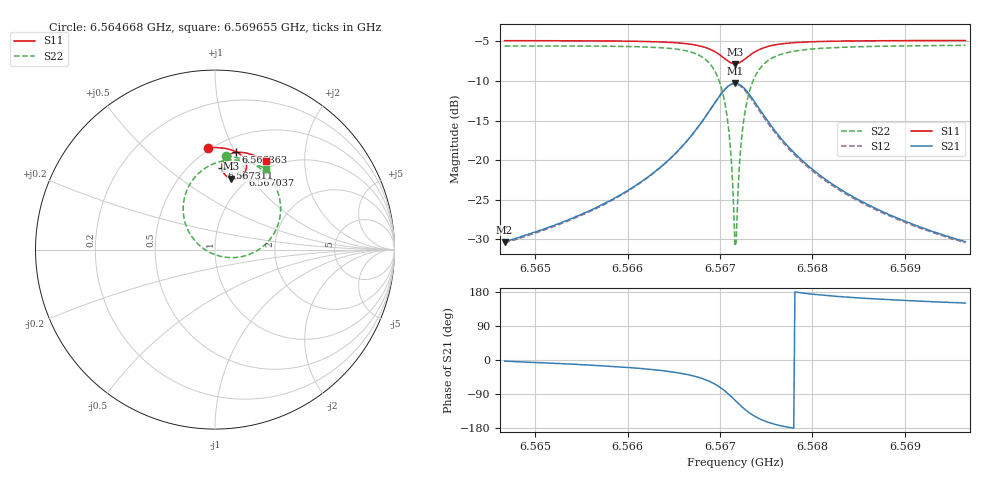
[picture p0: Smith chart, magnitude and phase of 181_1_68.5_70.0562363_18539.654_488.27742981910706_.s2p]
#  HZ  S  RI  R  50.00
! Rohde & Schwarz Vector Network Analyzer
! Rohde-Schwarz,ZNB20-2Port,1311601062101988,3.16
! Created: UTC 3/20/2024, 5:11:50 PM
! freq[Hz]  re:S11  im:S11  re:S21  im:S21  re:S12  im:S12  re:S22  im:S22
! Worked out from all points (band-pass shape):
!   401 points, 6.564668 GHz to 6.569655 GHz, reference 50 ohm
!   highest |S21| = -10.29 dB at 6.567161 GHz (marker M1); lowest = -30.3 dB at 6.564668 GHz (marker M2)
!   |S21| within 3 dB of the highest: 6.566913 GHz to 6.567412 GHz (498.6 kHz wide, 0.00759 % of centre)
!   lowest |S11| = -7.8 dB at 6.567161 GHz (marker M3), VSWR 2.37, Z = 42.5 + j40.3 ohm
!   |S11| at or under -10 dB: nowhere
!   |S22| runs from -30.9 to -5.5 dB; largest |S21 - S12| = 0.015
!   S11 on the Smith chart (normalised r, x): 6.564668 GHz: 0.48, +0.81; 6.566363 GHz: 0.64, +1.01; 6.567037 GHz: 0.91, +0.94; 6.567311 GHz: 0.70, +0.80; 6.569655 GHz: 0.89, +1.31
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6.5646678e9  -0.0388 0.5676  0.0304 -0.00154  0.03 -0.00203  0.0624 0.5224
6.5655031e9  0.0309 0.567  0.0445 -0.00983  0.0437 -0.0103  0.1453 0.5058
6.5663385e9  0.1124 0.5477  0.0791 -0.0404  0.0779 -0.0413  0.2655 0.4411
6.5663635e9  0.1152 0.5464  0.0807 -0.0426  0.0795 -0.0435  0.2703 0.4368
6.5666378e9  0.1489 0.5236  0.1036 -0.0809  0.102 -0.0826  0.3309 0.3616
6.5668373e9  0.1721 0.4864  0.1159 -0.1458  0.113 -0.149  0.3657 0.2363
6.5669495e9  0.174 0.4498  0.1005 -0.21  0.0948 -0.214  0.3413 0.1143
6.5670367e9  0.1565 0.4158  0.053 -0.2679  0.0431 -0.271  0.2531 0.00662
6.5670991e9  0.1283 0.3975  -0.00915 -0.2963  -0.0221 -0.2956  0.138 -0.0412
6.567124e9  0.1141 0.3944  -0.0392 -0.2998  -0.0529 -0.2969  0.0834 -0.0447
6.567149e9  0.0991 0.3944  -0.0703 -0.2973  -0.0838 -0.292  0.0282 -0.0368
6.5671614e9  0.0916 0.3956  -0.0855 -0.2936  -0.0989 -0.2871  0.00128 -0.0286
6.5671739e9  0.0843 0.3977  -0.1004 -0.2886  -0.1133 -0.281  -0.0246 -0.0176
6.5671864e9  0.0773 0.4005  -0.1147 -0.282  -0.127 -0.2733  -0.049 -0.00416
6.5672238e9  0.0592 0.4132  -0.1519 -0.2554  -0.1615 -0.2441  -0.1105 0.0481
6.5672487e9  0.05 0.4241  -0.1708 -0.2334  -0.1782 -0.221  -0.1402 0.0894
6.567311e9  0.0388 0.4538  -0.1965 -0.1747  -0.1989 -0.1622  -0.1756 0.1956
6.5674108e9  0.0452 0.4936  -0.1937 -0.0977  -0.1916 -0.0884  -0.1572 0.3292
6.5675604e9  0.0727 0.5254  -0.1587 -0.0353  -0.1553 -0.0302  -0.0819 0.4332
6.5679968e9  0.141 0.5422  -0.0872 0.00952  -0.0849 0.0108  0.0743 0.4987
6.5688322e9  0.2223 0.5237  -0.0422 0.016  -0.0414 0.0163  0.2063 0.4833
6.5696551e9  0.2847 0.4947  -0.0266 0.0151  -0.0259 0.0153  0.2826 0.45
